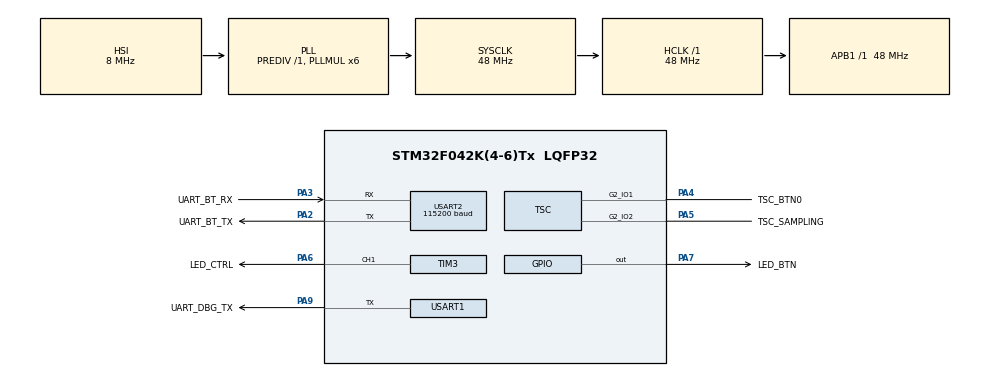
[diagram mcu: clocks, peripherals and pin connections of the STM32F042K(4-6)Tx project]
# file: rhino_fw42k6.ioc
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Dma.Request0=TIM3_CH1/TRIG
Dma.Request1=USART2_RX
Dma.TIM3_CH1/TRIG.0.Direction=DMA_MEMORY_TO_PERIPH
Dma.TIM3_CH1/TRIG.0.Instance=DMA1_Channel4
Dma.TIM3_CH1/TRIG.0.MemDataAlignment=DMA_MDATAALIGN_BYTE
Dma.TIM3_CH1/TRIG.0.MemInc=DMA_MINC_ENABLE
Dma.TIM3_CH1/TRIG.0.Mode=DMA_NORMAL
Dma.TIM3_CH1/TRIG.0.PeriphDataAlignment=DMA_PDATAALIGN_HALFWORD
Dma.TIM3_CH1/TRIG.0.PeriphInc=DMA_PINC_DISABLE
Dma.TIM3_CH1/TRIG.0.Priority=DMA_PRIORITY_MEDIUM
Dma.USART2_RX.1.Direction=DMA_PERIPH_TO_MEMORY
Dma.USART2_RX.1.Instance=DMA1_Channel5
Dma.USART2_RX.1.MemDataAlignment=DMA_MDATAALIGN_BYTE
Dma.USART2_RX.1.MemInc=DMA_MINC_ENABLE
Dma.USART2_RX.1.Mode=DMA_CIRCULAR
Dma.USART2_RX.1.PeriphDataAlignment=DMA_PDATAALIGN_BYTE
Dma.USART2_RX.1.PeriphInc=DMA_PINC_DISABLE
Dma.USART2_RX.1.Priority=DMA_PRIORITY_MEDIUM
FREERTOS.HEAP_NUMBER=3
FREERTOS.MEMORY_ALLOCATION=0
FREERTOS.Tasks01=ledsTask,0,96,leds_task_entry,Default,NULL,Dynamic,NULL,NULL;bluetoothTask,0,96,bluetooth_task_entry,Default,NULL,Dynamic,NULL,NULL;sensorTask,0,96,sensor_task_entry,Default,NULL,Dynamic,NULL,NULL;watchdogTask,0,64,watchdog_task_entry,Default,NULL,Dynamic,NULL,NULL;uartRxTask,2,96,uart_rx_task_entry,Default,NULL,Dynamic,NULL,NULL
FREERTOS.configCHECK_FOR_STACK_OVERFLOW=0
FREERTOS.configENABLE_BACKWARD_COMPATIBILITY=0
FREERTOS.configMAX_TASK_NAME_LEN=14
FREERTOS.configMINIMAL_STACK_SIZE=64
FREERTOS.configTOTAL_HEAP_SIZE=6144
FREERTOS.configUSE_MALLOC_FAILED_HOOK=0
FREERTOS.configUSE_TASK_NOTIFICATIONS=0
IWDG.Reload=WDG_COUNTER
IWDG.Window=WDG_COUNTER
Mcu.Family=STM32F0
Mcu.Name=STM32F042K(4-6)Tx
Mcu.Package=LQFP32
Mcu.UserConstants=WDG_PERIOD_MS,250;WDG_COUNTER,WDG_PERIOD_MS * (WDG_CLK_KHZ / WDG_PRESCALER);WDG_PRESCALER,4;WDG_CLK_KHZ,32
NVIC.DMA1_Channel4_5_IRQn=true\:3\:0\:false\:false\:true\:true\:false
NVIC.TIM1_BRK_UP_TRG_COM_IRQn=true\:0\:0\:false\:false\:true\:false\:false
NVIC.TimeBase=TIM1_BRK_UP_TRG_COM_IRQn
NVIC.TimeBaseIP=TIM1
PA13.GPIO_Label=SWDIO
PA13.Mode=Serial_Wire
PA13.Signal=SYS_SWDIO
PA14.GPIO_Label=SWCLK
PA14.Mode=Serial_Wire
PA14.Signal=SYS_SWCLK
PA2.GPIO_Label=UART_BT_TX
PA2.Mode=Asynchronous
PA2.Signal=USART2_TX
PA3.GPIO_Label=UART_BT_RX
PA3.Mode=Asynchronous
PA3.Signal=USART2_RX
PA4.GPIO_Label=TSC_BTN0
PA4.Mode=G2_IO1-Channel
PA4.Signal=TSC_G2_IO1
PA5.GPIO_Label=TSC_SAMPLING
PA5.Mode=G2_IO2-Sampling
PA5.Signal=TSC_G2_IO2
PA6.GPIO_Label=LED_CTRL
PA6.GPIO_PuPd=GPIO_PULLDOWN
PA6.GPIO_Speed=GPIO_SPEED_FREQ_HIGH
PA6.Signal=S_TIM3_CH1
PA7.GPIO_Label=LED_BTN
PA7.Signal=GPIO_Output
PA9.GPIO_FMA9=__NULL
PA9.GPIO_Label=UART_DBG_TX
PA9.GPIO_ModeDefaultOD=GPIO_MODE_AF_OD
PA9.GPIO_PuPd=GPIO_PULLUP
PA9.Mode=Half_duplex(single_wire_mode)
PA9.Signal=USART1_TX
ProjectManager.HeapSize=0x1110
ProjectManager.StackSize=0x20
ProjectManager.TargetToolchain=SW4STM32
RCC.AHBFreq_Value=48000000
RCC.APB1Freq_Value=48000000
RCC.APB1TimFreq_Value=48000000
RCC.HCLKFreq_Value=48000000
RCC.PLLMUL=RCC_PLL_MUL6
RCC.SYSCLKFreq_VALUE=48000000
RCC.SYSCLKSource=RCC_SYSCLKSOURCE_PLLCLK
SH.S_TIM3_CH1.0=TIM3_CH1,PWM Generation1 CH1
TIM3.Channel-PWM\ Generation1\ CH1=TIM_CHANNEL_1
TIM3.OCFastMode_PWM-PWM\ Generation1\ CH1=TIM_OCFAST_ENABLE
TOUCHSENSING.IO_TOUCHKEY_B1=G2_IO1
TOUCHSENSING.TSLPRM_SENSORS_DATAS=TSLPRM_TOTAL_TOUCHKEYS_B 1 1 
TOUCHSENSING.TSLPRM_TOTAL_TOUCHKEYS_B=1
TSC.ChannelIOs-G2_IO1=TSC_GROUP2_IO1
TSC.IODefaultMode=TSC_IODEF_IN_FLOAT
TSC.MaxCountValue=TSC_MCV_16383
TSC.SamplingIOs-G2_IO2=TSC_GROUP2_IO2
USART1.BaudRate=115200
USART1.Mode=MODE_TX
USART1.VirtualMode-Half_duplex(single_wire_mode)=VM_ASYNC
USART1.WordLength=WORDLENGTH_8B
USART2.BaudRate=115200
USART2.DMADisableonRxErrorParam=UART_ADVFEATURE_DMA_ENABLEONRXERROR
USART2.OverrunDisableParam=UART_ADVFEATURE_OVERRUN_ENABLE
USART2.VirtualMode-Asynchronous=VM_ASYNC
USART2.WordLength=WORDLENGTH_8B
VP_FREERTOS_VS_ENABLE.Mode=Enabled
VP_IWDG_VS_IWDG.Mode=IWDG_Activate
VP_SYS_VS_tim1.Mode=TIM1
VP_TOUCHSENSING_VS_TOUCHSENSING.Mode=TouchSensing_Enabled
board=rhino_fw42k6

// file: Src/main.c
/**
  ******************************************************************************
  * @file           : main.c
  * @brief          : Main program body
  ******************************************************************************
  * This notice applies to any and all portions of this file
  * that are not between comment pairs USER CODE BEGIN and
  * USER CODE END. Other portions of this file, whether
  * inserted by the user or by software development tools
  * are owned by their respective copyright owners.
  *
  * Copyright (c) 2018 STMicroelectronics International N.V.
  * All rights reserved.
  *
  * Redistribution and use in source and binary forms, with or without
  * modification, are permitted, provided that the following conditions are met:
  *
  * 1. Redistribution of source code must retain the above copyright notice,
  *    this list of conditions and the following disclaimer.
  * 2. Redistributions in binary form must reproduce the above copyright notice,
  *    this list of conditions and the following disclaimer in the documentation
  *    and/or other materials provided with the distribution.
  * 3. Neither the name of STMicroelectronics nor the names of other
  *    contributors to this software may be used to endorse or promote products
  *    derived from this software without specific written permission.
  * 4. This software, including modifications and/or derivative works of this
  *    software, must execute solely and exclusively on microcontroller or
  *    microprocessor devices manufactured by or for STMicroelectronics.
  * 5. Redistribution and use of this software other than as permitted under
  *    this license is void and will automatically terminate your rights under
  *    this license.
  *
  * THIS SOFTWARE IS PROVIDED BY STMICROELECTRONICS AND CONTRIBUTORS "AS IS"
  * AND ANY EXPRESS, IMPLIED OR STATUTORY WARRANTIES, INCLUDING, BUT NOT
  * LIMITED TO, THE IMPLIED WARRANTIES OF MERCHANTABILITY, FITNESS FOR A
  * PARTICULAR PURPOSE AND NON-INFRINGEMENT OF THIRD PARTY INTELLECTUAL PROPERTY
  * RIGHTS ARE DISCLAIMED TO THE FULLEST EXTENT PERMITTED BY LAW. IN NO EVENT
  * SHALL STMICROELECTRONICS OR CONTRIBUTORS BE LIABLE FOR ANY DIRECT, INDIRECT,
  * INCIDENTAL, SPECIAL, EXEMPLARY, OR CONSEQUENTIAL DAMAGES (INCLUDING, BUT NOT
  * LIMITED TO, PROCUREMENT OF SUBSTITUTE GOODS OR SERVICES; LOSS OF USE, DATA,
  * OR PROFITS; OR BUSINESS INTERRUPTION) HOWEVER CAUSED AND ON ANY THEORY OF
  * LIABILITY, WHETHER IN CONTRACT, STRICT LIABILITY, OR TORT (INCLUDING
  * NEGLIGENCE OR OTHERWISE) ARISING IN ANY WAY OUT OF THE USE OF THIS SOFTWARE,
  * EVEN IF ADVISED OF THE POSSIBILITY OF SUCH DAMAGE.
  *
  ******************************************************************************
  */
#include "main.h"
#include "stm32f0xx_hal.h"
#include "cmsis_os.h"
#include "touchsensing.h"

/* USER CODE BEGIN Includes */
#include "stm32f0xx_hal_flash.h"
#include <string.h>
#include <stdlib.h>
#include "ws2812b.h"
#include "tinyprintf.h"

typedef struct {
	uint8_t* buffer;
	int length;
} message_t;

typedef struct {
	int idx;
	uint16_t hue;
	uint8_t sat;
	uint8_t val;
} led_control_t;

typedef struct {
	char* buf;
	int pos;
	int remain;
	int size;
} stream_t;

/* USER CODE END Includes */

IWDG_HandleTypeDef hiwdg;

TIM_HandleTypeDef htim3;
DMA_HandleTypeDef hdma_tim3_ch1_trig;

TSC_HandleTypeDef htsc;

UART_HandleTypeDef huart1;
UART_HandleTypeDef huart2;
DMA_HandleTypeDef hdma_usart2_rx;

osThreadId ledsTaskHandle;
osThreadId bluetoothTaskHandle;
osThreadId sensorTaskHandle;
osThreadId watchdogTaskHandle;
osThreadId uartRxTaskHandle;

/* USER CODE BEGIN PV */
/* Private variables ---------------------------------------------------------*/
osMailQDef(uartRxQueueHandle, 8, message_t);
osMailQId  uartRxQueueHandle;
osMailQDef(ledControlQueueHandle, 2, led_control_t);
osMailQId  ledControlQueueHandle;
/* USER CODE END PV */

void SystemClock_Config(void);
static void MX_GPIO_Init(void);
static void MX_DMA_Init(void);
static void MX_USART1_UART_Init(void);
static void MX_USART2_UART_Init(void);
static void MX_TIM3_Init(void);
static void MX_TSC_Init(void);
static void MX_IWDG_Init(void);
void leds_task_entry(void const * argument);
void bluetooth_task_entry(void const * argument);
void sensor_task_entry(void const * argument);
void watchdog_task_entry(void const * argument);
void uart_rx_task_entry(void const * argument);

void HAL_TIM_MspPostInit(TIM_HandleTypeDef *htim);

/* USER CODE BEGIN PFP */
/* Private function prototypes -----------------------------------------------*/
/* USER CODE END PFP */

/* USER CODE BEGIN 0 */
int is_auth = 0;
const uint32_t secret = 0x46f70674;
int auth_start = 0;

ws2812b_t ws2812b;

#define TOP_LEFT 0
#define TOP_RIGHT 1
#define BOTTOM_LEFT 2
#define BOTTOM_RIGHT 3

static void uart_putf(void *unused, char c) {
	HAL_StatusTypeDef status;
	do {
		status = HAL_UART_Transmit(&huart1, (uint8_t*)&c, 1, 1000);
	} while (status == HAL_BUSY);
}

static void uart_printf_enter(void) {
	osThreadSuspendAll();
}

static void uart_printf_exit(void) {
	osThreadResumeAll();
}

void unsafe_blinking_error(void) {
	osThreadSuspendAll();
	while(1) {
		int idx = rand() % 4;
		int hue = (rand() % 360) ;
		int val = (rand() % 255) ;

		HAL_IWDG_Refresh(&hiwdg);

		ws2812b_set_hsv(&ws2812b, idx, hue, 255, val);
		while (ws2812b_send(&ws2812b) == -1)
		HAL_IWDG_Refresh(&hiwdg);

		volatile int k = 0;
		for (k = 0; k < 10; k++) {
			HAL_IWDG_Refresh(&hiwdg);
			HAL_Delay(1);
		}

		ws2812b_set_hsv(&ws2812b, idx, hue, 255, 0);
		while (ws2812b_send(&ws2812b) == -1)
		HAL_IWDG_Refresh(&hiwdg);

		for (k = 0; k < 10; k++) {
			HAL_IWDG_Refresh(&hiwdg);
			HAL_Delay(1);
		}
	}
}

void safe_blinking_error(void) {
	taskDISABLE_INTERRUPTS();
	volatile int k = 0;
	while (1) {
		HAL_GPIO_TogglePin(LED_BTN_GPIO_Port, LED_BTN_Pin);
		for (k = 0; k < 1024 * 1024; k++)
			HAL_IWDG_Refresh(&hiwdg);
		HAL_GPIO_TogglePin(LED_BTN_GPIO_Port, LED_BTN_Pin);
		for (k = 0; k < 1024 * 1024; k++)
			HAL_IWDG_Refresh(&hiwdg);
	}
}

#define EEPROM_START_ADDRESS 0x08007C00

int flash_erase() {
	uint32_t PageError = 0;
	FLASH_EraseInitTypeDef desc;
	desc.PageAddress = EEPROM_START_ADDRESS;
	desc.NbPages = 1;
	desc.TypeErase = FLASH_TYPEERASE_PAGES;
	HAL_FLASH_Unlock();
	HAL_StatusTypeDef status = HAL_FLASHEx_Erase(&desc, &PageError);
	HAL_FLASH_Lock();

	if (status != HAL_OK)
		return -1;

	return 0;
}

int flash_write(uint32_t address, const uint8_t* data, int size) {
	int k = 0;

    address = address + EEPROM_START_ADDRESS;
    HAL_FLASH_Unlock();

    for (k = 0; k < size; k += 2) {
    	uint16_t tmp = (data[k + 1] << 8) | data[k];
    	HAL_StatusTypeDef status = HAL_FLASH_Program(FLASH_TYPEPROGRAM_HALFWORD, address + k, tmp);
//    	printf("address = %08lX stat = %d\r\n", address + k, status);
    	if (status != HAL_OK) {
    		return -1;
    	}
    }
    HAL_FLASH_Lock();

    return 0;
}

int flash_read(uint32_t address, uint8_t* data, int size) {
	memcpy(data, (void*) (address + EEPROM_START_ADDRESS), size);
	return 0;
}

int flash_compare(uint32_t address, uint8_t* data, int size) {
	return memcmp(data, (void*) (address + EEPROM_START_ADDRESS), size);
}

#define PASSWORD_CONST_LENGTH 8

int write_password(char* data) {
	if (strlen(data) != PASSWORD_CONST_LENGTH)
		return -1;
	int status = flash_erase();
	if (status < 0)
		return status;
	status = flash_write(0, (uint8_t*) data, PASSWORD_CONST_LENGTH);
	if (status < 0)
		return status;
	char end[2] = { 0 };
	status = flash_write(PASSWORD_CONST_LENGTH, (uint8_t*) end, 2);
	return status;
}

int compare_password(char* password) {
	if (strlen(password) != PASSWORD_CONST_LENGTH)
		return -1;

	return flash_compare(0, (uint8_t*) password, strlen(password));
}

int read_password(char* data) {
	memset(data, 0, PASSWORD_CONST_LENGTH);
	return flash_read(0, (uint8_t*) data, PASSWORD_CONST_LENGTH);
}
/* USER CODE END 0 */

int main(void)
{
  /* USER CODE BEGIN 1 */
  init_printf(NULL, uart_putf, uart_printf_enter, uart_printf_exit);
  /* USER CODE END 1 */

  /* MCU Configuration----------------------------------------------------------*/

  /* Reset of all peripherals, Initializes the Flash interface and the Systick. */
  HAL_Init();

  /* Configure the system clock */
  SystemClock_Config();

  /* Initialize all configured peripherals */
  MX_GPIO_Init();
  MX_DMA_Init();
  MX_USART1_UART_Init();
  MX_USART2_UART_Init();
  MX_TIM3_Init();
  MX_TSC_Init();
  MX_IWDG_Init();
  /* USER CODE BEGIN 2 */
  printf("\r\nHardware init done... Starting FreeRTOS\r\n");
  /* USER CODE END 2 */

  /* Create the thread(s) */
  /* definition and creation of ledsTask */
  osThreadDef(ledsTask, leds_task_entry, osPriorityNormal, 0, 96);
  ledsTaskHandle = osThreadCreate(osThread(ledsTask), NULL);

  /* definition and creation of bluetoothTask */
  osThreadDef(bluetoothTask, bluetooth_task_entry, osPriorityNormal, 0, 96);
  bluetoothTaskHandle = osThreadCreate(osThread(bluetoothTask), NULL);

  /* definition and creation of sensorTask */
  osThreadDef(sensorTask, sensor_task_entry, osPriorityNormal, 0, 96);
  sensorTaskHandle = osThreadCreate(osThread(sensorTask), NULL);

  /* definition and creation of watchdogTask */
  osThreadDef(watchdogTask, watchdog_task_entry, osPriorityNormal, 0, 64);
  watchdogTaskHandle = osThreadCreate(osThread(watchdogTask), NULL);

  /* definition and creation of uartRxTask */
  osThreadDef(uartRxTask, uart_rx_task_entry, osPriorityHigh, 0, 96);
  uartRxTaskHandle = osThreadCreate(osThread(uartRxTask), NULL);

  /* USER CODE BEGIN RTOS_QUEUES */
  /* add queues, ... */
//  uartTxQueueHandle = osMailCreate(osMailQ(uartTxQueueHandle), NULL);
  uartRxQueueHandle = osMailCreate(osMailQ(uartRxQueueHandle), NULL);
  ledControlQueueHandle = osMailCreate(osMailQ(ledControlQueueHandle), NULL);
  /* USER CODE END RTOS_QUEUES */

  /* Start scheduler */
  osKernelStart();

  /* We should never get here as control is now taken by the scheduler */

  /* Infinite loop */
  while (1)
  {

  }

}

void SystemClock_Config(void)
{

  RCC_OscInitTypeDef RCC_OscInitStruct;
  RCC_ClkInitTypeDef RCC_ClkInitStruct;
  RCC_PeriphCLKInitTypeDef PeriphClkInit;

    /**Initializes the CPU, AHB and APB busses clocks
    */
  RCC_OscInitStruct.OscillatorType = RCC_OSCILLATORTYPE_HSI|RCC_OSCILLATORTYPE_LSI;
  RCC_OscInitStruct.HSIState = RCC_HSI_ON;
  RCC_OscInitStruct.HSICalibrationValue = 16;
  RCC_OscInitStruct.LSIState = RCC_LSI_ON;
  RCC_OscInitStruct.PLL.PLLState = RCC_PLL_ON;
  RCC_OscInitStruct.PLL.PLLSource = RCC_PLLSOURCE_HSI;
  RCC_OscInitStruct.PLL.PLLMUL = RCC_PLL_MUL6;
  RCC_OscInitStruct.PLL.PREDIV = RCC_PREDIV_DIV1;
  if (HAL_RCC_OscConfig(&RCC_OscInitStruct) != HAL_OK)
  {
    _Error_Handler(__FILE__, __LINE__);
  }

    /**Initializes the CPU, AHB and APB busses clocks
    */
  RCC_ClkInitStruct.ClockType = RCC_CLOCKTYPE_HCLK|RCC_CLOCKTYPE_SYSCLK
                              |RCC_CLOCKTYPE_PCLK1;
  RCC_ClkInitStruct.SYSCLKSource = RCC_SYSCLKSOURCE_PLLCLK;
  RCC_ClkInitStruct.AHBCLKDivider = RCC_SYSCLK_DIV1;
  RCC_ClkInitStruct.APB1CLKDivider = RCC_HCLK_DIV1;

  if (HAL_RCC_ClockConfig(&RCC_ClkInitStruct, FLASH_LATENCY_1) != HAL_OK)
  {
    _Error_Handler(__FILE__, __LINE__);
  }

  PeriphClkInit.PeriphClockSelection = RCC_PERIPHCLK_USART1;
  PeriphClkInit.Usart1ClockSelection = RCC_USART1CLKSOURCE_PCLK1;
  if (HAL_RCCEx_PeriphCLKConfig(&PeriphClkInit) != HAL_OK)
  {
    _Error_Handler(__FILE__, __LINE__);
  }

    /**Configure the Systick interrupt time
    */
  HAL_SYSTICK_Config(HAL_RCC_GetHCLKFreq()/1000);

    /**Configure the Systick
    */
  HAL_SYSTICK_CLKSourceConfig(SYSTICK_CLKSOURCE_HCLK);

  /* SysTick_IRQn interrupt configuration */
  HAL_NVIC_SetPriority(SysTick_IRQn, 3, 0);
}

/* IWDG init function */
static void MX_IWDG_Init(void)
{

  hiwdg.Instance = IWDG;
  hiwdg.Init.Prescaler = IWDG_PRESCALER_4;
  hiwdg.Init.Window = WDG_COUNTER;
  hiwdg.Init.Reload = WDG_COUNTER;
  if (HAL_IWDG_Init(&hiwdg) != HAL_OK)
  {
    _Error_Handler(__FILE__, __LINE__);
  }

}

/* TIM3 init function */
static void MX_TIM3_Init(void)
{

  TIM_MasterConfigTypeDef sMasterConfig;
  TIM_OC_InitTypeDef sConfigOC;

  htim3.Instance = TIM3;
  htim3.Init.Prescaler = 0;
  htim3.Init.CounterMode = TIM_COUNTERMODE_UP;
  htim3.Init.Period = 0;
  htim3.Init.ClockDivision = TIM_CLOCKDIVISION_DIV1;
  htim3.Init.AutoReloadPreload = TIM_AUTORELOAD_PRELOAD_DISABLE;
  if (HAL_TIM_PWM_Init(&htim3) != HAL_OK)
  {
    _Error_Handler(__FILE__, __LINE__);
  }

  sMasterConfig.MasterOutputTrigger = TIM_TRGO_RESET;
  sMasterConfig.MasterSlaveMode = TIM_MASTERSLAVEMODE_DISABLE;
  if (HAL_TIMEx_MasterConfigSynchronization(&htim3, &sMasterConfig) != HAL_OK)
  {
    _Error_Handler(__FILE__, __LINE__);
  }

  sConfigOC.OCMode = TIM_OCMODE_PWM1;
  sConfigOC.Pulse = 0;
  sConfigOC.OCPolarity = TIM_OCPOLARITY_HIGH;
  sConfigOC.OCFastMode = TIM_OCFAST_ENABLE;
  if (HAL_TIM_PWM_ConfigChannel(&htim3, &sConfigOC, TIM_CHANNEL_1) != HAL_OK)
  {
    _Error_Handler(__FILE__, __LINE__);
  }

  HAL_TIM_MspPostInit(&htim3);

}

/* TSC init function */
static void MX_TSC_Init(void)
{

    /**Configure the TSC peripheral
    */
  htsc.Instance = TSC;
  htsc.Init.CTPulseHighLength = TSC_CTPH_2CYCLES;
  htsc.Init.CTPulseLowLength = TSC_CTPL_2CYCLES;
  htsc.Init.SpreadSpectrum = DISABLE;
  htsc.Init.SpreadSpectrumDeviation = 1;
  htsc.Init.SpreadSpectrumPrescaler = TSC_SS_PRESC_DIV1;
  htsc.Init.PulseGeneratorPrescaler = TSC_PG_PRESC_DIV4;
  htsc.Init.MaxCountValue = TSC_MCV_16383;
  htsc.Init.IODefaultMode = TSC_IODEF_IN_FLOAT;
  htsc.Init.SynchroPinPolarity = TSC_SYNC_POLARITY_FALLING;
  htsc.Init.AcquisitionMode = TSC_ACQ_MODE_NORMAL;
  htsc.Init.MaxCountInterrupt = DISABLE;
  htsc.Init.ChannelIOs = TSC_GROUP2_IO1;
  htsc.Init.ShieldIOs = 0;
  htsc.Init.SamplingIOs = TSC_GROUP2_IO2;
  if (HAL_TSC_Init(&htsc) != HAL_OK)
  {
    _Error_Handler(__FILE__, __LINE__);
  }

}

/* USART1 init function */
static void MX_USART1_UART_Init(void)
{

  huart1.Instance = USART1;
  huart1.Init.BaudRate = 115200;
  huart1.Init.WordLength = UART_WORDLENGTH_8B;
  huart1.Init.StopBits = UART_STOPBITS_1;
  huart1.Init.Parity = UART_PARITY_NONE;
  huart1.Init.Mode = UART_MODE_TX;
  huart1.Init.HwFlowCtl = UART_HWCONTROL_NONE;
  huart1.Init.OverSampling = UART_OVERSAMPLING_16;
  huart1.Init.OneBitSampling = UART_ONE_BIT_SAMPLE_DISABLE;
  huart1.AdvancedInit.AdvFeatureInit = UART_ADVFEATURE_NO_INIT;
  if (HAL_HalfDuplex_Init(&huart1) != HAL_OK)
  {
    _Error_Handler(__FILE__, __LINE__);
  }

}

/* USART2 init function */
static void MX_USART2_UART_Init(void)
{

  huart2.Instance = USART2;
  huart2.Init.BaudRate = 115200;
  huart2.Init.WordLength = UART_WORDLENGTH_8B;
  huart2.Init.StopBits = UART_STOPBITS_1;
  huart2.Init.Parity = UART_PARITY_NONE;
  huart2.Init.Mode = UART_MODE_TX_RX;
  huart2.Init.HwFlowCtl = UART_HWCONTROL_NONE;
  huart2.Init.OverSampling = UART_OVERSAMPLING_16;
  huart2.Init.OneBitSampling = UART_ONE_BIT_SAMPLE_DISABLE;
  huart2.AdvancedInit.AdvFeatureInit = UART_ADVFEATURE_NO_INIT;
  if (HAL_UART_Init(&huart2) != HAL_OK)
  {
    _Error_Handler(__FILE__, __LINE__);
  }

}

static void MX_DMA_Init(void)
{
  /* DMA controller clock enable */
  __HAL_RCC_DMA1_CLK_ENABLE();

  /* DMA interrupt init */
  /* DMA1_Channel4_5_IRQn interrupt configuration */
  HAL_NVIC_SetPriority(DMA1_Channel4_5_IRQn, 3, 0);
  HAL_NVIC_EnableIRQ(DMA1_Channel4_5_IRQn);

}

/** Configure pins as
        * Analog
        * Input
        * Output
        * EVENT_OUT
        * EXTI
*/
static void MX_GPIO_Init(void)
{

  GPIO_InitTypeDef GPIO_InitStruct;

  /* GPIO Ports Clock Enable */
  __HAL_RCC_GPIOA_CLK_ENABLE();

  /*Configure GPIO pin Output Level */
  HAL_GPIO_WritePin(LED_BTN_GPIO_Port, LED_BTN_Pin, GPIO_PIN_RESET);

  /*Configure GPIO pin : LED_BTN_Pin */
  GPIO_InitStruct.Pin = LED_BTN_Pin;
  GPIO_InitStruct.Mode = GPIO_MODE_OUTPUT_PP;
  GPIO_InitStruct.Pull = GPIO_NOPULL;
  GPIO_InitStruct.Speed = GPIO_SPEED_FREQ_LOW;
  HAL_GPIO_Init(LED_BTN_GPIO_Port, &GPIO_InitStruct);

}

/* USER CODE BEGIN 4 */

message_t* createMessage(osMailQId queue, const char* data, int length) {
	message_t* message = osMailAlloc(queue, osWaitForever);
	message->length = length;
	message->buffer = (uint8_t*) calloc(length + 1, sizeof(char));
	memcpy(message->buffer, data, length);
	return message;
}

void sendMessage(osMailQId queue, const char* data, int length) {
	message_t* message = createMessage(queue, data, length);

	if (osOK != osMailPut(queue, message)) {
		printf("sendMsg error %s\r\n", message->buffer);
		Error_Handler();
	}
}

message_t* recvMessage(osMailQId queue, uint32_t milisec) {
	osEvent evt = osMailGet(queue, milisec);

	if (evt.status == osEventTimeout) {
		return NULL;
	}

	if (evt.status != osEventMail) {
		printf("recvMsg error\r\n");
		Error_Handler();
	}

	return (message_t*) evt.value.p;
}

void freeMessage(osMailQId queue, message_t* message) {
//	printf("freeMessage: message = %s\r\n", message->buffer);
	free(message->buffer);
	if (osOK != osMailFree(queue, message)) {
		printf("freeMsg error\r\n");
		Error_Handler();
	}
}

int tsc_acquisition_value(TSC_HandleTypeDef* htsc, int group_idx, int count) {
	int k = 0;
	int uhTSCAcquisitionValue = 0;

	for (k = 0; k < count; k++) {
		osThreadSuspendAll();
		HAL_TSC_IODischarge(htsc, ENABLE);
		HAL_TSC_Start(htsc);
		HAL_TSC_PollForAcquisition(htsc);
		if (HAL_TSC_GroupGetStatus(htsc, group_idx) == TSC_GROUP_COMPLETED) {
			uhTSCAcquisitionValue += HAL_TSC_GroupGetValue(htsc, group_idx);
		}
		HAL_TSC_Stop(htsc);
		HAL_TSC_IODischarge(htsc, DISABLE);
		osThreadResumeAll();
	}

	return uhTSCAcquisitionValue / k;
}

void HAL_TIM_PWM_PulseFinishedCallback(TIM_HandleTypeDef *htim) {
	ws2812b_interrupt(&ws2812b);
}

int bt_recv(char* buffer, int size, uint32_t timeout) {
	message_t* message = recvMessage(uartRxQueueHandle, timeout);
	if (message == NULL)
		return -1;
	if (message->length > size) {
//		printf("bt_recv: Message too large buf_size = %d size = %d message = %sr\n",
//				size, message->length, message->buffer);
		Error_Handler();
	}
	memset(buffer, 0, size);
	memcpy(buffer, message->buffer, message->length);
	freeMessage(uartRxQueueHandle, message);
	return 0;
}

void bt_send(const char* buffer) {
	HAL_UART_Transmit(&huart2, (uint8_t*) buffer, strlen(buffer), 1000);
//	sendMessage(uartTxQueueHandle, buffer, strlen(buffer));
}

int bt_command(const char* command, char* response, int size, uint32_t timeout) {
	static int no = 0;
	printf("cmd[%d] %s\r\n", no, command);
	bt_send(command);
	int status = bt_recv(response, size, timeout);
	printf("rsp[%d] %s\r\n", no, response);
	no++;
	return status;
}

stream_t* stream_init(stream_t* stream, char* buf, int size) {
	stream->buf = buf;
	stream->size = size;
	stream->pos = 0;
	stream->remain = 0;
	return stream;
}

void stream_increase_remain(stream_t* stream, int size) {
	stream->remain += size;
}

stream_t* stream_create_from_buf(char* buf, int size) {
	stream_t* stream = (stream_t*) calloc(1, sizeof(stream));
	stream_init(stream, buf, size);
	stream_increase_remain(stream, size);
	return stream;
}

void stream_destroy(stream_t* stream) {
	free(stream);
}

void stream_destroy_with_buf(stream_t* stream) {
	free(stream->buf);
	stream_destroy(stream);
}

int stream_read_string(stream_t* stream, char* output, int size) {
	if (size > stream->remain)
		return -1;
	memcpy(output, stream->buf + stream->pos, size);
	stream->pos += size;
	stream->remain -= size;
	return 0;
}

char* stream_read_astring(stream_t* stream, int size) {
	char* buf = (char*) calloc(size + 1, sizeof(char));
	if (stream_read_string(stream, buf, size) < 0) {
		free(buf);
		return NULL;
	}
	return buf;
}

int stream_read_num(stream_t* stream, int size) {
	char* buf = stream_read_astring(stream, size);
	if (buf == NULL)
		return 0;
	int result = strtol(buf, NULL, 16);
	free(buf);
	return result;
}

uint8_t stream_read_byte(stream_t* stream) {
	return stream_read_num(stream, 2);
}

uint16_t stream_read_half(stream_t* stream) {
	return stream_read_num(stream, 4);
}

uint32_t stream_read_word(stream_t* stream) {
	return stream_read_num(stream, 8);
}

int circular_stream_lookup_char(stream_t* stream, char ch) {
	int k = 0;
	for (k = 0; k < stream->remain; k++) {
		int offset = stream->pos + k;
		uint16_t pos = offset % stream->size;
		char sch = stream->buf[pos];
		if (sch == ch)
			return offset;
	}
	return -1;
}

int circular_stream_skip(stream_t* stream, int count) {
	if (stream->remain < count)
		return -1;
	stream->pos += count;
	stream->remain -= count;
	return count;
}

char circular_stream_peek_char(stream_t* stream) {
	if (stream->remain == 0)
		return 0;
	uint16_t pos = stream->pos % stream->size;
	return stream->buf[pos];
}

char circular_stream_read_char(stream_t* stream) {
	char ch = circular_stream_peek_char(stream);
	if (ch != 0) {
		stream->pos += 1;
		stream->remain -= 1;
	}
	return ch;
}

int circular_stream_read_string(stream_t* stream, char* buf, int size) {
	int k = 0;
	for (k = 0; k < size; k++) {
		buf[k] = circular_stream_read_char(stream);
		if (buf[k] == 0)
			return -1;
	}
	return 0;
}

char* circular_stream_read_astring(stream_t* stream, int size) {
	char* buf = (char*) calloc(size + 1, sizeof(char));
	if (circular_stream_read_string(stream, buf, size) < 0) {
		free(buf);
		return NULL;
	}
	return buf;
}

char* circular_stream_read_astring_until(stream_t* stream, char ch) {
	int offset = circular_stream_lookup_char(stream, ch);
	if (offset == -1)
		return NULL;
	int size = offset - stream->pos;
	return circular_stream_read_astring(stream, size);
}

uint32_t adler32(const uint8_t *buf, size_t buflength) {
     uint32_t s1 = 1;
     uint32_t s2 = 0;

     while( buflength-- ) {
         s1 = ( s1 + *( buf++ ) ) % 65521;
         s2 = ( s2 + s1 ) % 65521;
     }
     return (s2 << 16) | s1;
}

uint32_t magic_salt() {
	return 0xFEE1DEAD;
}

void passgen(char* buf, int size) {
	const int start = 'A';
	const int end = 'Z';
	const int total = end + 1 - start;

	memset(buf, 0, size);

	/* Intializes random number generator */
	int seed = tsc_acquisition_value(&htsc, TSC_GROUP2_IDX, 32);
	srand(seed);

	for (int i = 0; i < size; i++) {
		buf[i] = (char) ((rand() % total) + start);
	}
	buf[size] = 0;
}

/* USER CODE END 4 */

/* leds_task_entry function */
void leds_task_entry(void const * argument)
{
  /* init code for TOUCHSENSING */
  MX_TOUCHSENSING_Init();

  /* USER CODE BEGIN 5 */

  printf("LED task\r\n");

//  flash_erase();

  	char pass[PASSWORD_CONST_LENGTH + 1] = { 0 };
  	read_password(pass);

  	if (pass[0] < 'A' || pass[0] > 'Z') {
  		osThreadSuspendAll();

  		int erase_status = flash_erase();
  		printf("erase=%d\r\n", erase_status);
  		passgen(pass, PASSWORD_CONST_LENGTH);
  		printf("gen=%s\r\n", pass);
  		int password_status = write_password(pass);
  		printf("flash=%d\r\n", password_status);

  		printf("reset\r\n");
  		while (1);
  	}

  	printf("[%s]\r\n", (char*) EEPROM_START_ADDRESS);

	if (ws2812b_init(&ws2812b, 4, &htim3, TIM_CHANNEL_1) < 0) {
//		printf("ws2812b driver init failure...\r\n");
		Error_Handler();
	}

	ws2812b_send_all_rgb_wait(&ws2812b, 20, 0, 0);
	osDelay(300);

	ws2812b_send_all_rgb_wait(&ws2812b, 0, 20, 0);
	osDelay(300);

	ws2812b_send_all_rgb_wait(&ws2812b, 0, 0, 20);
	osDelay(300);

	ws2812b_send_hsv_wait(&ws2812b, 0,   0, 255, 10);
	ws2812b_send_hsv_wait(&ws2812b, 1,  90, 255, 10);
	ws2812b_send_hsv_wait(&ws2812b, 2, 180, 255, 10);
	ws2812b_send_hsv_wait(&ws2812b, 3, 270, 255, 10);

	int16_t shift = 90;
	int16_t step = -10;
	uint8_t locked[4] = { 0 };
	uint8_t shine = 1;
	uint16_t delay = 15;

	for (;;) {
		osEvent evt = osMailGet(ledControlQueueHandle, 1000);
		if (evt.status == osEventMail) {
			led_control_t* led = (led_control_t*) evt.value.p;
			if (led->idx == 0xB816D8D9) {
				printf("I've got a super power and now I'm seeing invisible tactical combatant nano-ants everywhere\r\n");
				printf("I'm crazy rhino: www.youtube.com/watch?v=R6Rf5tyc4rA\r\n");
				printf("Thou should see them too I'm enable this super power for you\r\n");
				printf("!!!MaD bLiNkInG should begin\r\n");
				unsafe_blinking_error();
			}
			// unlock if hue is invalid
			if (led->hue < 360) {
				locked[led->idx] = 1;
				ws2812b_send_hsv_wait(&ws2812b, led->idx, led->hue, led->sat, led->val);
			} else {
				printf("hue > max: change shine\r\n");
				if (led->hue == 520) {
					shine = 0;
				} else if (led->hue == 720) {
					shine = 1;
				} else if (led->hue == 920) {
					locked[led->idx] = 0;
				} else if (led->hue > 1000) {
					delay = led->hue / 100;
				}
			}
			osMailFree(ledControlQueueHandle, led);
		} else if (evt.status == osEventTimeout) {
			if (shine == 1) {
				int hue = 0;
				for (hue = 0; hue < 360; hue += 5) {
					if (!locked[0]) ws2812b_set_hsv(&ws2812b, 0, hue + shift * 1, 255, 20);
					if (!locked[1]) ws2812b_set_hsv(&ws2812b, 1, hue + shift * 2, 255, 20);
					if (!locked[2]) ws2812b_set_hsv(&ws2812b, 2, hue + shift * 3, 255, 20);
					if (!locked[3]) ws2812b_set_hsv(&ws2812b, 3, hue + shift * 4, 255, 20);
					ws2812b_send_wait(&ws2812b);
					osDelay(delay);
				}
				if (!locked[0]) ws2812b_set_hsv(&ws2812b, 0,   0, 255, 10);
				if (!locked[1]) ws2812b_set_hsv(&ws2812b, 1,  90, 255, 10);
				if (!locked[2]) ws2812b_set_hsv(&ws2812b, 2, 180, 255, 10);
				if (!locked[3]) ws2812b_set_hsv(&ws2812b, 3, 270, 255, 10);
				ws2812b_send_wait(&ws2812b);
				shift += step;
				if (shift == 0)
					step *= -1;
			}
		} else {
			Error_Handler();
		}
	}
  /* USER CODE END 5 */
}

/* bluetooth_task_entry function */
void bluetooth_task_entry(void const * argument)
{
  /* USER CODE BEGIN bluetooth_task_entry */
#define MAX_MESSAGE_SIZE 64
#define STATE_DISCONNECTED 0
#define STATE_CONNECTED 2
#define STATE_BYPASS 3

	printf("Bluetooth task\r\n");

	char* response = (char*) calloc(MAX_MESSAGE_SIZE + 1, sizeof(char));
	int state = STATE_DISCONNECTED;
	int echo_enabled = 0;

	bt_command("^#^$^%", response, MAX_MESSAGE_SIZE, osWaitForever);

	while (bt_recv(response, MAX_MESSAGE_SIZE, 1000) != -1) {
		printf("leftovers %s\r\n", response);
	}

	bt_command("AT+AB ShowConnection\r", response, MAX_MESSAGE_SIZE, osWaitForever);
	if (strstr(response, "No device connected") == NULL) {
//		printf("bt disconnect peers\r\n");
		bt_command("AT+AB SPPDisconnect\r", response, MAX_MESSAGE_SIZE, osWaitForever);
	}

//	bt_command("AT+AB ReadClock\r", response, MAX_MESSAGE_SIZE, osWaitForever);
	bt_command("AT+AB DefaultLocalName RHINOCEROS-X\r", response, MAX_MESSAGE_SIZE, osWaitForever);
	bt_command("AT+AB Config COD = 000000\r", response, MAX_MESSAGE_SIZE, osWaitForever);
	bt_command("AT+AB EnableBond\r", response, MAX_MESSAGE_SIZE, osWaitForever);
//	bt_command("AT+AB ShowDev\r", response, BUFFER_MESSAGE_SIZE, osWaitForever);

  /* Infinite loop */
	printf("infinite loop\r\n");
  for(;;)
  {
//	  bt_command("AT+AB ReadClock\r", response, MAX_MESSAGE_SIZE, osWaitForever);
	  bt_recv(response, MAX_MESSAGE_SIZE, osWaitForever);
	  printf("recv %s state %d\r\n", response, state);
	  if (state == STATE_DISCONNECTED) {
		  if (strstr(response, "AT-AB ConnectionUp") == response) {
			  printf("state connected\r\n");
			  state = STATE_CONNECTED;
		  }
	  } else if (state == STATE_CONNECTED) {
		  if (strstr(response, "AT-AB ConnectionDown") == response) {
			  printf("state disconnected\r\n");
			  state = STATE_DISCONNECTED;
		  } else if (strstr(response, "AT-AB -BypassMode-") == response) {
			  printf("state bypass\r\n");
			  state = STATE_BYPASS;
		  } else {
			  // ignored
		  }
	  } else if (state == STATE_BYPASS) {
		  if (strstr(response, "AT-AB ConnectionDown") == response) {
			  printf("state disconnected\r\n");
			  state = STATE_DISCONNECTED;
			  continue;
		  }

		  int len = strlen(response);
		  if (echo_enabled) {
			  response[len+0] = '\r';
			  response[len+1] = '\n';
			  bt_send(response);
		  }

		  if (len < 4) {
			  bt_send("ERROR: Wrong header length\r\n");
			  continue;
		  }

//		  printf("resp: %s\r\n", response);

		  stream_t* stream = stream_create_from_buf(response, len);
		  char* cmd = stream_read_astring(stream, 4);

		  printf("cmd: %s\r\n", cmd);

		  if (strcmp(cmd, "ECH1") == 0) {
//		      printf("enable echo mode\r\n");
			  echo_enabled = 1;
			  bt_send("OK\r\n");
		  } else if (strcmp(cmd, "ECH0") == 0) {
//		      printf("disable echo mode\r\n");
			  echo_enabled = 0;
			  bt_send("OK\r\n");
		  } else if (strcmp(cmd, "MEOW") == 0) {
			  printf("mow?\r\n");
			  bt_send("mur-mur (>._.<)\r\n");
		  } else if (strcmp(cmd, "LED ") == 0) {
			  led_control_t* led = osMailAlloc(ledControlQueueHandle, osWaitForever);
			  led->idx = stream_read_byte(stream) % 4;
			  led->hue = stream_read_half(stream);
			  led->sat = stream_read_byte(stream);
			  led->val = stream_read_byte(stream);
			  printf("led idx %d hue %d sat %d val %d\r\n", led->idx, led->hue, led->sat, led->val);
			  osMailPut(ledControlQueueHandle, led);
			  bt_send("OK\r\n");
		  } else if (strcmp(cmd, "UART") == 0) {
			  int size = stream_read_byte(stream);
			  char* msg = stream_read_astring(stream, size);
			  printf("msg %s\r\n", msg);
			  free(msg);
			  bt_send("OK\r\n");
		  } else if (strcmp(cmd, "BLE ") == 0) {
			  HAL_GPIO_WritePin(LED_BTN_GPIO_Port, LED_BTN_Pin, GPIO_PIN_SET);
			  bt_send("OK\r\n");
		  } else if (strcmp(cmd, "READ") == 0) {
			  if (is_auth == 1) {
				  int address = stream_read_word(stream);
				  int size = stream_read_half(stream);
				  printf("addr=%x, size=%x\r\n", address, size);
				  if (size > 58) {
					  bt_send("ERROR: Too much!\r\n");
				  } else {
					  strcpy(response, "OK: ");
					  memcpy(response, (void*) address, size);
					  strcpy(response + size, "\r\n");
					  bt_send(response);
				  }
			  } else {
				  bt_send("ERROR: Not auth!\r\n");
			  }
		  } else if (strcmp(cmd, "WRIT") == 0) {
			  if (is_auth == 1) {
				  int address = stream_read_word(stream);
				  int size = stream_read_half(stream);
				  char* data = stream_read_astring(stream, size);
				  memcpy((void*) address, data, size);
				  free(data);
				  bt_send("OK\r\n");
			  } else {
				  bt_send("ERROR: Not auth!\r\n");
			  }
		  } else if (strcmp(cmd, "AUTP") == 0) {
			  if (is_auth == 0) {
				  char* bt_pass = stream_read_astring(stream, PASSWORD_CONST_LENGTH);
				  if (compare_password(bt_pass) == 0) {
					  printf("User auth pass %s\r\n", bt_pass);
					  is_auth = 1;
    				  auth_start = HAL_GetTick();
					  bt_send("OK\r\n");
				  } else {
					  bt_send("ERROR: auth error\r\n");
				  }
				  free(bt_pass);
			  } else {
				  bt_send("ERROR: Already auth!\r\n");
			  }
		  } else if (strcmp(cmd, "SETP") == 0) {
			  if (is_auth == 1) {
				  char* password = stream_read_astring(stream, PASSWORD_CONST_LENGTH);
				  write_password(password);
				  printf("pass set: %s\r\n", password);
				  free(password);
				  bt_send("OK\r\n");
			  } else {
				  bt_send("ERROR: Not auth!\r\n");
			  }
		  } else if (strcmp(cmd, "VIP ") == 0) {
			  int sz = stream->remain;
			  char* password = stream_read_astring(stream, sz);
			  uint32_t hash = adler32((uint8_t*) password, sz);
			  if (hash == secret) {
				  bt_send("Congrats amigo!\r\n");
				  led_control_t* led = osMailAlloc(ledControlQueueHandle, osWaitForever);
				  led->idx = hash ^ magic_salt();
				  led->hue = 0x00E1;
				  led->sat = 0xBA;
				  led->val = 0xAD;
				  osMailPut(ledControlQueueHandle, led);
			  } else {
				  bt_send("Wrong won't give up!\r\n");
			  }
		  } else {
			  bt_send("ERROR: Unk cmd\r\n");
		  }

		  free(cmd);
		  free(stream);
	  }
  }
  /* USER CODE END bluetooth_task_entry */
}

/* sensor_task_entry function */
void sensor_task_entry(void const * argument)
{
  /* USER CODE BEGIN sensor_task_entry */
	printf("Sensor task\r\n");

  HAL_TSC_Init(&htsc);

  // don't set large count (> 48) watchdog may not be in time
  int threshold = tsc_acquisition_value(&htsc, TSC_GROUP2_IDX, 128) / 2;
  printf("TSC %d\r\n", threshold);

  int prv_auth = is_auth;
  int press_start = 0;
  int press_time = 0;

  for(;;)
  {
	    int uhTSCAcquisitionValue = tsc_acquisition_value(&htsc, TSC_GROUP2_IDX, 32);
//		printf("uhTSCAcquisitionValue = %d\r\n", uhTSCAcquisitionValue);
		if (uhTSCAcquisitionValue < threshold) {
			HAL_GPIO_WritePin(LED_BTN_GPIO_Port, LED_BTN_Pin, GPIO_PIN_SET);
			press_time = HAL_GetTick() - press_start;
			if (press_time > 1000) {
				if (is_auth == 0) {
					printf("AUTH BTN\r\n");
					osThreadSuspendAll();
					auth_start = HAL_GetTick();
					prv_auth = is_auth;
					is_auth = 1;
					osThreadResumeAll();
				}
			} else {

			}
		} else {
			GPIO_PinState state = (is_auth == 0) ? GPIO_PIN_RESET : GPIO_PIN_SET;
			HAL_GPIO_WritePin(LED_BTN_GPIO_Port, LED_BTN_Pin, state);
			press_start = HAL_GetTick();
		}

		if (is_auth && HAL_GetTick() - auth_start > 60000) {
			printf("SET AUTH %d\r\n", prv_auth);
			is_auth = prv_auth;
		}
//		osDelay(10);
  }
  /* USER CODE END sensor_task_entry */
}

/* watchdog_task_entry function */
void watchdog_task_entry(void const * argument)
{
  /* USER CODE BEGIN watchdog_task_entry */
  /* Infinite loop */
  for(;;)
  {
    HAL_IWDG_Refresh(&hiwdg);
  }
  /* USER CODE END watchdog_task_entry */
}

/* uart_rx_task_entry function */
void uart_rx_task_entry(void const * argument)
{
  /* USER CODE BEGIN uart_rx_task_entry */
	printf("UART task\r\n");

	stream_t local_stream;
	const int UART_RX_BUFFER_SIZE = 128;
	char* dma_buf = calloc(UART_RX_BUFFER_SIZE + 1, sizeof(char));
    stream_t* stream = stream_init(&local_stream, dma_buf, UART_RX_BUFFER_SIZE);

    HAL_UART_Receive_DMA(&huart2, (uint8_t*) stream->buf, stream->size);

    volatile int cur_remain = 0;
    volatile int prv_remain = stream->size;

    for(;;)
    {
    	osDelay(WDG_PERIOD_MS / 4);

    	// get current remain from DMA buffer
    	cur_remain = huart2.hdmarx->Instance->CNDTR;

    	// check if something incomming
    	int addend = 0;
		if (cur_remain > prv_remain) {
			int size1 = prv_remain;
			int size2 = stream->size - cur_remain;
			addend = size1 + size2;
		} else if (cur_remain < prv_remain) {
			addend = prv_remain - cur_remain;
		} else {
			continue;
		}
		stream_increase_remain(stream, addend);

		int start_tick = HAL_GetTick();

		// processing messages
		while (1) {
			// filter out all bad characters
			while (circular_stream_peek_char(stream) == '\0') {
				if (circular_stream_skip(stream, 1) == -1) {
					break;
				}
			}

			char* msg = circular_stream_read_astring_until(stream, '\r');
//			printf("uart_rx: msg=%s\r\n", msg);
			if (msg == NULL)
				break;

//			printf("bt: %s\r\n", msg);
			sendMessage(uartRxQueueHandle, msg, strlen(msg));
			free(msg);

			// get rid of '\r' char
			circular_stream_read_char(stream);
			// drop next char if it is '\n'
			if ('\n' == circular_stream_peek_char(stream)) {
				circular_stream_read_char(stream);
			}

			// give some time to others (watchdog reset)
			if (HAL_GetTick() - start_tick > WDG_PERIOD_MS / 4) {
				osDelay(WDG_PERIOD_MS / 4);
				start_tick = HAL_GetTick();
			}
		}

		prv_remain = cur_remain;
    }
  /* USER CODE END uart_rx_task_entry */
}

void HAL_TIM_PeriodElapsedCallback(TIM_HandleTypeDef *htim)
{
  if (htim->Instance == TIM1) {
    HAL_IncTick();
  }
}

void _Error_Handler(char *file, int line)
{
  /* USER CODE BEGIN Error_Handler_Debug */
  /* User can add his own implementation to report the HAL error return state */
	safe_blinking_error();
  /* USER CODE END Error_Handler_Debug */
}

#ifdef  USE_FULL_ASSERT
/**
  * @brief  Reports the name of the source file and the source line number
  *         where the assert_param error has occurred.
  * @param  file: pointer to the source file name
  * @param  line: assert_param error line source number
  * @retval None
  */
void assert_failed(uint8_t* file, uint32_t line)
{
  /* USER CODE BEGIN 6 */
  /* User can add his own implementation to report the file name and line number,
     tex: printf("Wrong parameters value: file %s on line %d\r\n", file, line) */
//	printf("assertion failed: file %s on line %d\r\n", file, line);
	safe_blinking_error();
  /* USER CODE END 6 */
}
#endif /* USE_FULL_ASSERT */

/************************ (C) COPYRIGHT STMicroelectronics *****END OF FILE****/
